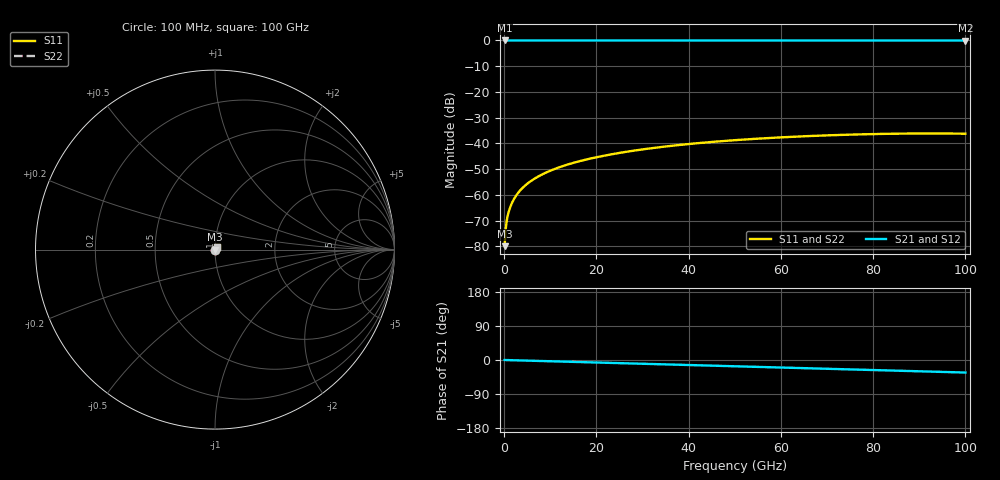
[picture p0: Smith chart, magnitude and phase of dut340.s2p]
! Touchstone file exported from HFSS 2026.1.0
!  File:  C:/ffzhzh/LocalFiles/Ansys_Project_Files/temp_train_TSV_340_1783509828_55944.aedt
!  Generated:  07:25:09 PM Jul  8, 2026
!  Design:  TSV
!  Project:  temp_train_TSV_340_1783509828_55944
! Variables:
!  h_bsmrdl = 2um
!  h_ox = 20um
!  h_rdl = 5um
!  h_sub = 62.47um
!  h_tmrdl = 5um
!  h_tsv = 62.47um
!  h_via = 3um
!  l_bsmrdl = 300um
!  l_sub = 423.96um
!  l_tmrdl = 200um
!  m_sub = 200um
!  pitch = 50.01um
!  r_tsv = 11.98um
!  s_tmrdl = 10um
!  w_bsmrdl = 18um
!  w_sub = 500um
!  w_tmrdl = 12um
!  x_tsv_center1 = 206um
!  x_tsv_center2 = 524um
!  x_tsv_center3 = 736um
!  x_tsv_center4 = 1054um
!  x_tsv_center5 = 1266um
!  x_tsv_center6 = 1584um
# GHz S MA R 50.000000
! Terminal data exported
! Port[1] = TSV1_1_T1
! Port[2] = TSV1_1_T2
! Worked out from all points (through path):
!   1000 points, 100 MHz to 100 GHz, reference 50 ohm
!   highest |S21| = 0.00 dB at 100 MHz (marker M1); lowest = 0.0 dB at 100 GHz (marker M2)
!   group delay of S21, straight-line fit = 918 fs
!   lowest |S11| = -79.9 dB at 100 MHz (marker M3), VSWR 1.00, Z = 50 + j0.00599 ohm
!   |S11| at or under -10 dB: start of sweep to end of sweep
!   |S22| runs from -79.9 to -36.1 dB; largest |S21 - S12| = 2.7e-15
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0.1  0.000101 36.3  0.9999 -0.0  0.9999 -0.0  0.000101 36.3
! Gamma 0 0 0 0
! Port Impedance 50 0 50 0
0.4  0.0002472 59.6  0.9999 -0.1  0.9999 -0.1  0.0002472 59.6
0.7  0.0003697 62.2  0.9998 -0.2  0.9998 -0.2  0.0003697 62.2
0.8  0.0004057 62.8  0.9998 -0.3  0.9998 -0.3  0.0004057 62.8
1  0.000474 63.9  0.9998 -0.3  0.9998 -0.3  0.000474 63.9
1.3  0.0005718 65.5  0.9998 -0.4  0.9998 -0.4  0.0005718 65.5
1.8  0.0007296 67.5  0.9997 -0.6  0.9997 -0.6  0.0007296 67.5
2.4  0.0009126 69.1  0.9997 -0.8  0.9997 -0.8  0.0009126 69.1
3.1  0.001118 70.2  0.9996 -1.0  0.9996 -1.0  0.001118 70.2
3.9  0.001344 71.2  0.9996 -1.3  0.9996 -1.3  0.001344 71.2
4.9  0.001617 72.1  0.9995 -1.6  0.9995 -1.6  0.001617 72.1
6.1  0.001938 72.9  0.9995 -2.0  0.9995 -2.0  0.001938 72.9
8.9  0.002669 73.8  0.9994 -3.0  0.9994 -3.0  0.002669 73.8
12.5  0.003581 74.0  0.9993 -4.1  0.9993 -4.1  0.003581 74.0
16.8  0.004629 73.7  0.9991 -5.6  0.9991 -5.6  0.004629 73.7
24.3  0.006383 72.8  0.999 -8.0  0.999 -8.0  0.006383 72.8
33.4  0.008386 70.9  0.9988 -11.0  0.9988 -11.0  0.008386 70.8
41.3  0.009985 68.8  0.9986 -13.6  0.9986 -13.6  0.009985 68.8
50.1  0.01158 66.3  0.9984 -16.5  0.9984 -16.5  0.01158 66.3
66.7  0.01397 61.3  0.9982 -22.0  0.9982 -22.0  0.01397 61.3
83.4  0.01539 56.0  0.9979 -27.6  0.9979 -27.6  0.01539 55.9
100  0.01543 50.5  0.9976 -33.1  0.9976 -33.1  0.01543 50.4
